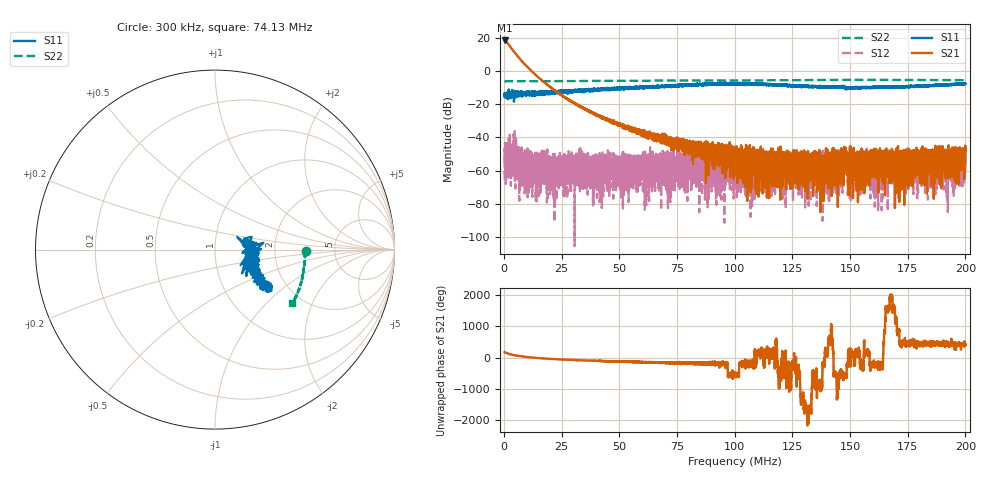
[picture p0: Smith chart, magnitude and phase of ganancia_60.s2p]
# Hz S DB R 50
! CMT, M5065, 19127446, 24.2.4/2
! Date: 11/8/2024 6:49:58 PM
! Data: Format (Calibration Info)
! Freq	S11:dB/Ang(F2)	S21:dB/Ang(F2)	S12:dB/Ang(F2)	S22:dB/Ang(F2)
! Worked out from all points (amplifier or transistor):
!   9000 points, 300 kHz to 200 MHz, reference 50 ohm
!   highest |S21| = 18.6 dB at 322.2 kHz (marker M1)
!   |S21| within 3 dB of that: start of sweep to 2.324 MHz
!   unconditionally stable (mu >= 1): start of sweep to end of sweep
!   at 33.59 MHz: K = 4366.99, MAG = -20.2 dB, |S12| = -60.2 dB
!   at 100.2 MHz: K = 69918.93, MAG = -49.8 dB, |S12| = -55.4 dB
!   at 200 MHz: K = 21396.55, MAG = -44.9 dB, |S12| = -50.1 dB
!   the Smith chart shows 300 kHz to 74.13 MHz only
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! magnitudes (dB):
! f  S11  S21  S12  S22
! 300 kHz  -15.1  18.6  -65.6  -5.9
! 322.2 kHz  -13.1  18.6  -53.4  -5.9
! 1.631 MHz  -14.1  16.9  -58.2  -6.0
! 9.243 MHz  -12.9  4.0  -73.3  -6.0
! 15.63 MHz  -13.6  -4.5  -55.7  -6.0
! 33.59 MHz  -11.8  -21.8  -60.2  -5.9
! 66.87 MHz  -9.6  -40.1  -58.4  -5.7
! 100.2 MHz  -7.6  -52.0  -55.4  -5.6
! 106.6 MHz  -7.8  -54.3  -62.3  -5.5
! 110.7 MHz  -8.1  -57.2  -52.2  -5.5
! 118.8 MHz  -8.0  -56.0  -60.3  -5.4
! 122.4 MHz  -8.9  -54.2  -58.0  -5.4
! 124.5 MHz  -8.6  -57.7  -60.2  -5.4
! 133.4 MHz  -9.3  -58.9  -57.0  -5.3
! 138.1 MHz  -9.7  -61.3  -66.4  -5.3
! 145.3 MHz  -9.3  -54.0  -57.4  -5.2
! 148 MHz  -9.7  -51.1  -50.2  -5.2
! 150.3 MHz  -9.8  -59.5  -53.4  -5.2
! 161.7 MHz  -9.2  -48.9  -56.3  -5.2
! 166.7 MHz  -9.5  -50.9  -50.7  -5.2
! 194.7 MHz  -7.9  -51.0  -51.9  -5.4
! 200 MHz  -7.5  -47.2  -50.1  -5.4
